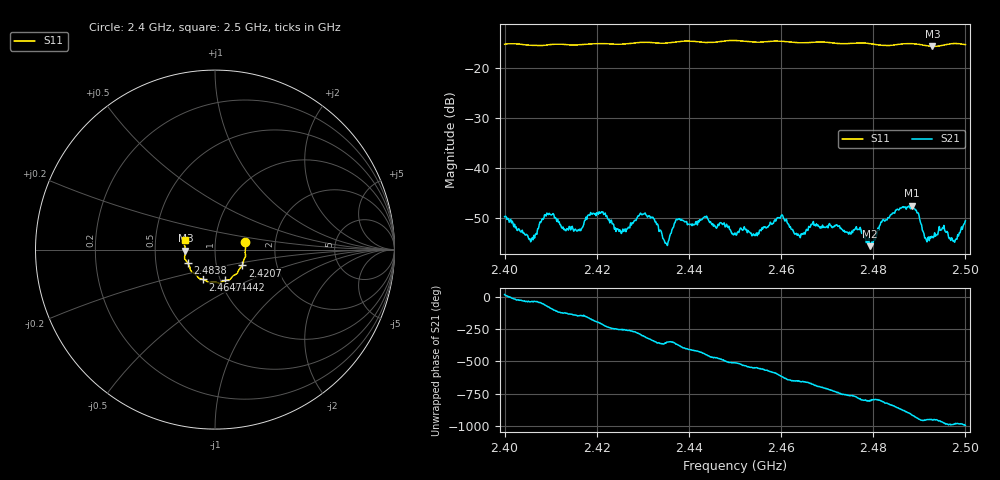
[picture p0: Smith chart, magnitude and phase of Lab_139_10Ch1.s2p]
# Hz S RI R
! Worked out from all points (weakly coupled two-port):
!   601 points, 2.4 GHz to 2.5 GHz, reference 50 ohm
!   highest |S21| = -47.53 dB at 2.4883 GHz (marker M1); lowest = -55.7 dB at 2.4793 GHz (marker M2)
!   lowest |S11| = -15.6 dB at 2.4928 GHz (marker M3), VSWR 1.40, Z = 35.8 - j0.437 ohm
!   |S11| at or under -10 dB: start of sweep to end of sweep
!   S12 and S22 are empty: the file has one direction only
!   S11 on the Smith chart (normalised r, x): 2.4 GHz: 1.40, +0.12; 2.4207 GHz: 1.33, -0.24; 2.4442 GHz: 1.05, -0.37; 2.4647 GHz: 0.83, -0.29; 2.4838 GHz: 0.73, -0.11; 2.5 GHz: 0.71, +0.08
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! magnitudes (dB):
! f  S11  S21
! 2.4 GHz  -15.2  -49.8
! 2.4057 GHz  -15.4  -54.8
! 2.4092 GHz  -15.4  -49.1
! 2.4167 GHz  -15.3  -52.2
! 2.4207 GHz  -15.1  -49.1
! 2.425 GHz  -15.2  -52.4
! 2.43 GHz  -14.8  -49.2
! 2.4333 GHz  -15.0  -51.6
! 2.4352 GHz  -15.0  -55.2
! 2.4375 GHz  -14.7  -50.4
! 2.4442 GHz  -14.9  -50.3
! 2.45 GHz  -14.5  -53.0
! 2.4598 GHz  -14.6  -50.1
! 2.4647 GHz  -14.9  -53.1
! 2.4667 GHz  -14.8  -51.3
! 2.4793 GHz  -15.1  -55.7
! 2.4833 GHz  -15.5  -50.0
! 2.4838 GHz  -15.4  -49.3
! 2.4883 GHz  -15.1  -47.5
! 2.4928 GHz  -15.6  -53.8
! 2.4977 GHz  -15.1  -54.9
! 2.5 GHz  -15.3  -50.6
